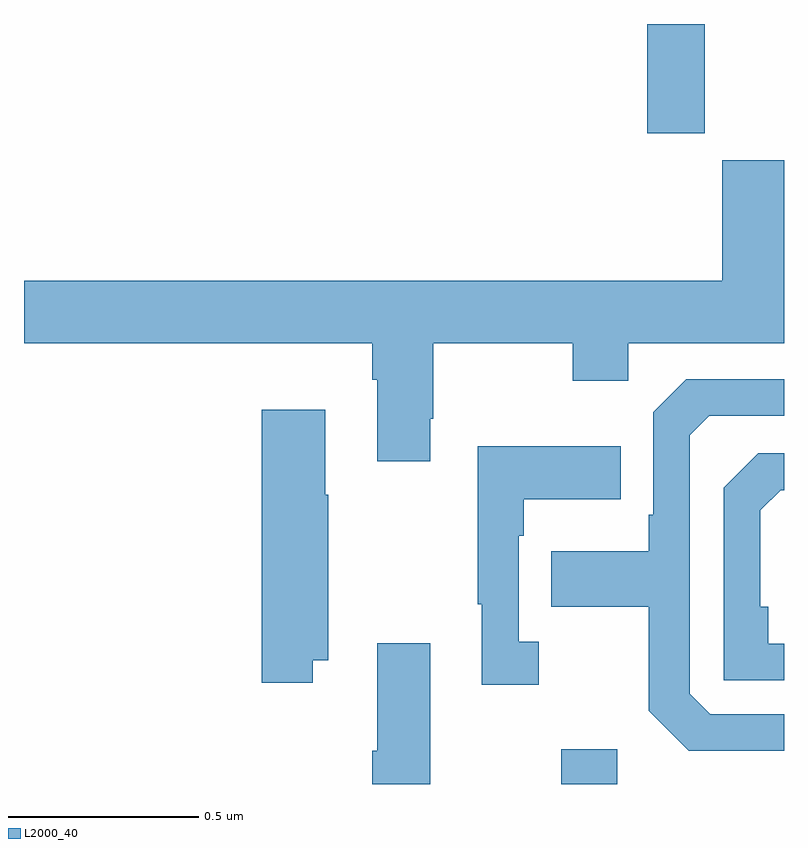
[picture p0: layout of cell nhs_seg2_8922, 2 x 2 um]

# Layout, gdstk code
import gdstk
lib = gdstk.Library(unit=1e-6, precision=1e-09)
def R(c, l, rs):  # rectangles x0, y0, x1, y1
    for r in rs: c.add(gdstk.rectangle(r[:2], r[2:], *l))
def P(c, l, *ps):  # polygons
    for p in ps: c.add(gdstk.Polygon(p, *l))
L2000_40 = (2000, 40)

nhs_seg2_8922 = lib.new_cell('nhs_seg2_8922')
R(nhs_seg2_8922, L2000_40, [(223.414,655.8,223.561,655.891), (223.64,657.513,223.792,657.8)])
P(nhs_seg2_8922, L2000_40, [(223.069,656.761),(223.077,656.761),(223.077,656.96),(223.444,656.96),(223.444,656.861),(223.59,656.861),(223.59,656.96),(224,656.96),(224,657.441),(223.838,657.441),(223.838,657.124),(222,657.124),(222,656.96),(222.917,656.96),(222.917,656.864),(222.929,656.864),(222.929,656.649),(223.069,656.649)],
  [(224,655.983),(223.806,655.983),(223.752,656.037),(223.752,656.718),(223.803,656.769),(224,656.769),(224,656.865),(223.743,656.865),(223.656,656.778),(223.656,656.509),(223.644,656.509),(223.644,656.413),(223.387,656.413),(223.387,656.266),(223.644,656.266),(223.644,655.993),(223.749,655.887),(224,655.887)],
  [(222.76,656.126),(222.801,656.126),(222.801,656.561),(222.793,656.561),(222.793,656.785),(222.626,656.785),(222.626,656.067),(222.76,656.067)],
  [(223.354,656.174),(223.302,656.174),(223.302,656.453),(223.315,656.453),(223.315,656.549),(223.571,656.549),(223.571,656.689),(223.194,656.689),(223.194,656.273),(223.205,656.273),(223.205,656.061),(223.354,656.061)],
  [(224,656.169),(223.958,656.169),(223.958,656.266),(223.938,656.266),(223.938,656.52),(223.991,656.573),(224,656.573),(224,656.67),(223.932,656.67),(223.842,656.58),(223.842,656.073),(224,656.073)],
  [(223.069,656.17),(222.929,656.17),(222.929,655.888),(222.917,655.888),(222.917,655.8),(223.069,655.8)])

lib.write_gds('nhs_seg2_8922.gds')
